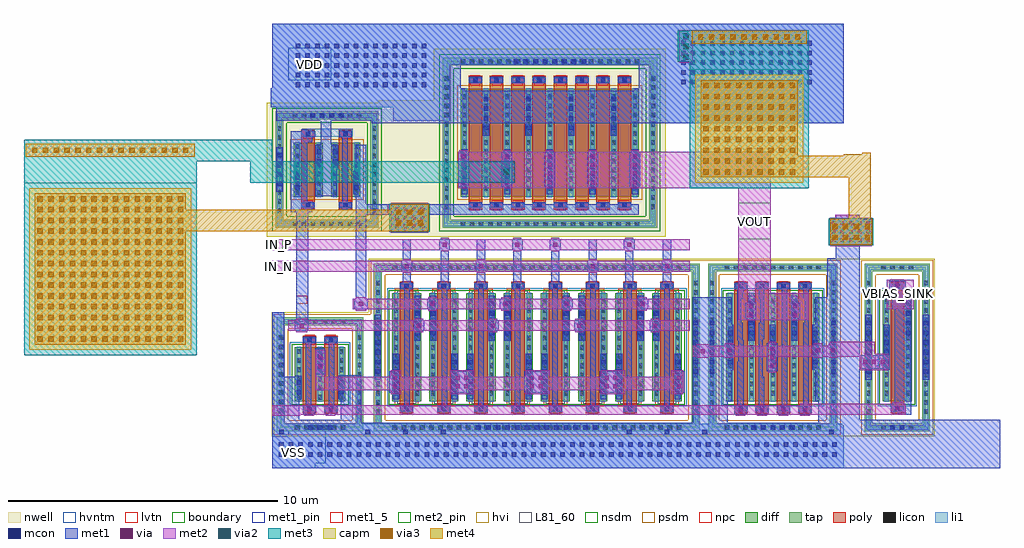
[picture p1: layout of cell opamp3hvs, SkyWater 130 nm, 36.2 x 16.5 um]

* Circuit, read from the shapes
.subckt opamp3hvs IN_N IN_P VBIAS_SINK VDD VOUT VSS
XM1 n1 VBIAS_SINK VSS VSS sky130_fd_pr__nfet_05v0_nvt w=2 l=0.5 m=2
XM2 opamp3hv_0/VN IN_N n1 VSS sky130_fd_pr__nfet_05v0_nvt w=4 l=0.5 m=4
XM3 n1 IN_P opamp3hv_0/VOUTSTAGE1 VSS sky130_fd_pr__nfet_05v0_nvt w=4 l=0.5 m=4
XM4 VOUT VBIAS_SINK VSS VSS sky130_fd_pr__nfet_05v0_nvt w=4 l=0.5 m=4
XM5 VBIAS_SINK VBIAS_SINK VSS VSS sky130_fd_pr__nfet_05v0_nvt w=4 l=0.5
XM6 VDD opamp3hv_0/VN opamp3hv_0/VN VDD sky130_fd_pr__pfet_g5v0d10v5 w=2 l=0.5
XM7 opamp3hv_0/VOUTSTAGE1 opamp3hv_0/VN VDD VDD sky130_fd_pr__pfet_g5v0d10v5 w=2 l=0.5
XM8 VDD opamp3hv_0/VOUTSTAGE1 VOUT VDD sky130_fd_pr__pfet_g5v0d10v5 w=4 l=0.5 m=8
XC9 opamp3hv_0/VOUTSTAGE1 VOUT sky130_fd_pr__cap_mim_m3_1 w=6 l=6
XC10 VSS VDD sky130_fd_pr__cap_mim_m3_1 w=4 l=4
.ends

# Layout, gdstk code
from math import pi, radians
import gdstk
lib = gdstk.Library(unit=1e-6, precision=1e-09)
def R(c, l, rs):  # rectangles x0, y0, x1, y1
    for r in rs: c.add(gdstk.rectangle(r[:2], r[2:], *l))
def A(c, l, x, y, w, h, nx, ny, dx, dy):  # array of equal rectangles
    R(c, l, [(x+i*dx, y+j*dy, x+i*dx+w, y+j*dy+h) for i in range(nx) for j in range(ny)])
nwell = (64, 20)
diff = (65, 20)
tap = (65, 44)
poly = (66, 20)
licon = (66, 44)
li1 = (67, 20)
mcon = (67, 44)
met1_5 = (68, 5)
met1_pin = (68, 16)
met1 = (68, 20)
via = (68, 44)
met2_pin = (69, 16)
met2 = (69, 20)
via2 = (69, 44)
met3 = (70, 20)
via3 = (70, 44)
met4 = (71, 20)
hvi = (75, 20)
L81_60 = (81, 60)
capm = (89, 44)
nsdm = (93, 44)
psdm = (94, 20)
npc = (95, 20)
hvntm = (125, 20)
lvtn = (125, 44)
boundary = (235, 4)

sky130_fd_pr__cap_mim_m3 = lib.new_cell('sky130_fd_pr__cap_mim_m3_1_7CPSX4')
R(sky130_fd_pr__cap_mim_m3, met3, [(-3.93,-3.2,3.93,3.2)])
A(sky130_fd_pr__cap_mim_m3, via3, 3.57, -2.9, 0.2, 0.2, 1, 15, 0, 0.4)
A(sky130_fd_pr__cap_mim_m3, via3, -3.43, -2.7, 0.2, 0.2, 14, 14, 0.4, 0.4)
R(sky130_fd_pr__cap_mim_m3, met4, [(3.43,-3.14,3.91,3.14), (-3.535,-2.805,2.075,2.805)])
R(sky130_fd_pr__cap_mim_m3, capm, [(-3.73,-3,2.27,3)])
R(sky130_fd_pr__cap_mim_m3, boundary, [(-3.93,-3.2,2.47,3.2)])

c_sky130_fd_pr__cap_mim_m3 = lib.new_cell('sky130_fd_pr__cap_mim_m3_1_K8PL49')
R(c_sky130_fd_pr__cap_mim_m3, met3, [(-2.93,-2.2,2.93,2.2)])
A(c_sky130_fd_pr__cap_mim_m3, via3, 2.57, -1.9, 0.2, 0.2, 1, 10, 0, 0.4)
A(c_sky130_fd_pr__cap_mim_m3, via3, -2.43, -1.7, 0.2, 0.2, 9, 9, 0.4, 0.4)
R(c_sky130_fd_pr__cap_mim_m3, met4, [(2.43,-2.14,2.91,2.14), (-2.535,-1.805,1.075,1.805)])
R(c_sky130_fd_pr__cap_mim_m3, capm, [(-2.73,-2,1.27,2)])
R(c_sky130_fd_pr__cap_mim_m3, boundary, [(-2.93,-2.2,1.47,2.2)])

sky130_fd_pr__nfet_03v3_ = lib.new_cell('sky130_fd_pr__nfet_03v3_nvt_7WRH84')
A(sky130_fd_pr__nfet_03v3_, diff, -5.37, -2, 1.08, 4, 8, 1, 1.38, 0)
R(sky130_fd_pr__nfet_03v3_, tap, [(-6.04,-3.11,6.04,-2.82), (-6.04,-2.82,-5.75,2.82), (5.75,-2.82,6.04,2.82), (-6.04,2.82,6.04,3.11)])
A(sky130_fd_pr__nfet_03v3_, poly, -5.08, -2.44, 0.5, 4.88, 8, 1, 1.38, 0)
A(sky130_fd_pr__nfet_03v3_, licon, -5.355, -3.05, 0.17, 0.17, 32, 2, 0.34, 5.93)
A(sky130_fd_pr__nfet_03v3_, licon, -5.98, -2.465, 0.17, 0.17, 1, 15, 0, 0.34)
A(sky130_fd_pr__nfet_03v3_, licon, 5.81, -2.465, 0.17, 0.17, 1, 15, 0, 0.34)
A(sky130_fd_pr__nfet_03v3_, licon, -4.915, -2.36, 0.17, 0.17, 8, 2, 1.38, 4.55)
A(sky130_fd_pr__nfet_03v3_, licon, -5.31, -1.785, 0.17, 0.17, 1, 11, 0, 0.34)
A(sky130_fd_pr__nfet_03v3_, licon, -4.52, -1.785, 0.17, 0.17, 1, 11, 0, 0.34)
A(sky130_fd_pr__nfet_03v3_, licon, -3.93, -1.785, 0.17, 0.17, 1, 11, 0, 0.34)
A(sky130_fd_pr__nfet_03v3_, licon, -3.14, -1.785, 0.17, 0.17, 1, 11, 0, 0.34)
A(sky130_fd_pr__nfet_03v3_, licon, -2.55, -1.785, 0.17, 0.17, 1, 11, 0, 0.34)
A(sky130_fd_pr__nfet_03v3_, licon, -1.76, -1.785, 0.17, 0.17, 1, 11, 0, 0.34)
A(sky130_fd_pr__nfet_03v3_, licon, -1.17, -1.785, 0.17, 0.17, 1, 11, 0, 0.34)
A(sky130_fd_pr__nfet_03v3_, licon, -0.38, -1.785, 0.17, 0.17, 1, 11, 0, 0.34)
A(sky130_fd_pr__nfet_03v3_, licon, 0.21, -1.785, 0.17, 0.17, 1, 11, 0, 0.34)
A(sky130_fd_pr__nfet_03v3_, licon, 1, -1.785, 0.17, 0.17, 1, 11, 0, 0.34)
A(sky130_fd_pr__nfet_03v3_, licon, 1.59, -1.785, 0.17, 0.17, 1, 11, 0, 0.34)
A(sky130_fd_pr__nfet_03v3_, licon, 2.38, -1.785, 0.17, 0.17, 1, 11, 0, 0.34)
A(sky130_fd_pr__nfet_03v3_, licon, 2.97, -1.785, 0.17, 0.17, 1, 11, 0, 0.34)
A(sky130_fd_pr__nfet_03v3_, licon, 3.76, -1.785, 0.17, 0.17, 1, 11, 0, 0.34)
A(sky130_fd_pr__nfet_03v3_, licon, 4.35, -1.785, 0.17, 0.17, 1, 11, 0, 0.34)
A(sky130_fd_pr__nfet_03v3_, licon, 5.14, -1.785, 0.17, 0.17, 1, 11, 0, 0.34)
A(sky130_fd_pr__nfet_03v3_, li1, -5.08, -2.36, 0.5, 0.17, 8, 2, 1.38, 4.55)
R(sky130_fd_pr__nfet_03v3_, li1, [(-5.98,-3.05,5.98,-2.88), (-5.98,-2.88,-5.81,2.88), (5.81,-2.88,5.98,2.88), (-5.31,-2.02,-5.14,2.02), (-4.52,-2.02,-4.35,2.02), (-3.93,-2.02,-3.76,2.02), (-3.14,-2.02,-2.97,2.02), (-2.55,-2.02,-2.38,2.02), (-1.76,-2.02,-1.59,2.02), (-1.17,-2.02,-1,2.02), (-0.38,-2.02,-0.21,2.02), (0.21,-2.02,0.38,2.02), (1,-2.02,1.17,2.02), (1.59,-2.02,1.76,2.02), (2.38,-2.02,2.55,2.02), (2.97,-2.02,3.14,2.02), (3.76,-2.02,3.93,2.02), (4.35,-2.02,4.52,2.02), (5.14,-2.02,5.31,2.02), (-5.98,2.88,5.98,3.05)])
A(sky130_fd_pr__nfet_03v3_, mcon, -2.245, -3.05, 0.17, 0.17, 13, 1, 0.36, 0)
A(sky130_fd_pr__nfet_03v3_, mcon, -4.915, -2.36, 0.17, 0.17, 8, 2, 1.38, 4.55)
A(sky130_fd_pr__nfet_03v3_, mcon, -5.31, -1.705, 0.17, 0.17, 1, 4, 0, 0.36)
A(sky130_fd_pr__nfet_03v3_, mcon, -3.14, -1.705, 0.17, 0.17, 1, 4, 0, 0.36)
A(sky130_fd_pr__nfet_03v3_, mcon, -2.55, -1.705, 0.17, 0.17, 1, 4, 0, 0.36)
A(sky130_fd_pr__nfet_03v3_, mcon, -0.38, -1.705, 0.17, 0.17, 1, 4, 0, 0.36)
A(sky130_fd_pr__nfet_03v3_, mcon, 0.21, -1.705, 0.17, 0.17, 1, 4, 0, 0.36)
A(sky130_fd_pr__nfet_03v3_, mcon, 2.38, -1.705, 0.17, 0.17, 1, 4, 0, 0.36)
A(sky130_fd_pr__nfet_03v3_, mcon, 2.97, -1.705, 0.17, 0.17, 1, 4, 0, 0.36)
A(sky130_fd_pr__nfet_03v3_, mcon, 5.14, -1.705, 0.17, 0.17, 1, 4, 0, 0.36)
A(sky130_fd_pr__nfet_03v3_, mcon, -5.98, -0.985, 0.17, 0.17, 1, 6, 0, 0.36)
A(sky130_fd_pr__nfet_03v3_, mcon, 5.81, -0.985, 0.17, 0.17, 1, 6, 0, 0.36)
A(sky130_fd_pr__nfet_03v3_, mcon, -4.52, 0.455, 0.17, 0.17, 1, 4, 0, 0.36)
A(sky130_fd_pr__nfet_03v3_, mcon, -3.93, 0.455, 0.17, 0.17, 1, 4, 0, 0.36)
A(sky130_fd_pr__nfet_03v3_, mcon, -1.76, 0.455, 0.17, 0.17, 1, 4, 0, 0.36)
A(sky130_fd_pr__nfet_03v3_, mcon, -1.17, 0.455, 0.17, 0.17, 1, 4, 0, 0.36)
A(sky130_fd_pr__nfet_03v3_, mcon, 1, 0.455, 0.17, 0.17, 1, 4, 0, 0.36)
A(sky130_fd_pr__nfet_03v3_, mcon, 1.59, 0.455, 0.17, 0.17, 1, 4, 0, 0.36)
A(sky130_fd_pr__nfet_03v3_, mcon, 3.76, 0.455, 0.17, 0.17, 1, 4, 0, 0.36)
A(sky130_fd_pr__nfet_03v3_, mcon, 4.35, 0.455, 0.17, 0.17, 1, 4, 0, 0.36)
A(sky130_fd_pr__nfet_03v3_, met1, -5.06, -2.39, 0.46, 0.23, 8, 2, 1.38, 4.55)
R(sky130_fd_pr__nfet_03v3_, met1, [(-2.385,-3.08,2.385,-2.85), (-5.34,-1.915,-5.11,-0.245), (-3.17,-1.915,-2.94,-0.245), (-2.58,-1.915,-2.35,-0.245), (-0.41,-1.915,-0.18,-0.245), (0.18,-1.915,0.41,-0.245), (2.35,-1.915,2.58,-0.245), (2.94,-1.915,3.17,-0.245), (5.11,-1.915,5.34,-0.245), (-6.01,-1.21,-5.78,1.21), (5.78,-1.21,6.01,1.21), (-4.55,0.245,-4.32,1.915), (-3.96,0.245,-3.73,1.915), (-1.79,0.245,-1.56,1.915), (-1.2,0.245,-0.97,1.915), (0.97,0.245,1.2,1.915), (1.56,0.245,1.79,1.915), (3.73,0.245,3.96,1.915), (4.32,0.245,4.55,1.915)])
R(sky130_fd_pr__nfet_03v3_, hvi, [(-6.225,-3.295,6.225,3.295)])
A(sky130_fd_pr__nfet_03v3_, L81_60, -5.18, -2.1, 0.7, 4.2, 8, 1, 1.38, 0)
R(sky130_fd_pr__nfet_03v3_, nsdm, [(-5.495,-2.125,5.495,2.125)])
R(sky130_fd_pr__nfet_03v3_, psdm, [(-6.165,-3.235,6.165,-2.695), (-6.165,-2.695,-5.625,2.695), (5.625,-2.695,6.165,2.695), (-6.165,2.695,6.165,3.235)])
A(sky130_fd_pr__nfet_03v3_, npc, -5.015, -2.46, 0.37, 0.37, 8, 2, 1.38, 4.55)
R(sky130_fd_pr__nfet_03v3_, hvntm, [(-5.555,-2.185,5.555,2.185)])
A(sky130_fd_pr__nfet_03v3_, lvtn, -5.26, -2.18, 0.86, 4.36, 8, 1, 1.38, 0)
R(sky130_fd_pr__nfet_03v3_, boundary, [(-5.895,-2.965,5.895,2.965)])

sky130_fd_pr__nfet_g5v0d = lib.new_cell('sky130_fd_pr__nfet_g5v0d10v5_HU3XD6')
R(sky130_fd_pr__nfet_g5v0d, diff, [(-0.935,-1,0.935,1)])
R(sky130_fd_pr__nfet_g5v0d, tap, [(-1.605,-2.11,1.605,-1.82), (-1.605,-1.82,-1.315,1.82), (1.315,-1.82,1.605,1.82), (-1.605,1.82,1.605,2.11)])
R(sky130_fd_pr__nfet_g5v0d, poly, [(-0.645,-1.44,-0.145,1.44), (0.145,-1.44,0.645,1.44)])
A(sky130_fd_pr__nfet_g5v0d, licon, -0.935, -2.05, 0.17, 0.17, 6, 2, 0.34, 3.93)
A(sky130_fd_pr__nfet_g5v0d, licon, -1.545, -1.445, 0.17, 0.17, 1, 9, 0, 0.34)
A(sky130_fd_pr__nfet_g5v0d, licon, 1.375, -1.445, 0.17, 0.17, 1, 9, 0, 0.34)
A(sky130_fd_pr__nfet_g5v0d, licon, -0.875, -0.935, 0.17, 0.17, 3, 6, 0.79, 0.34)
R(sky130_fd_pr__nfet_g5v0d, licon, [(-0.48,-1.36,-0.31,-1.19), (0.31,-1.36,0.48,-1.19), (-0.48,1.19,-0.31,1.36), (0.31,1.19,0.48,1.36)])
A(sky130_fd_pr__nfet_g5v0d, li1, -0.875, -1.02, 0.17, 2.04, 3, 1, 0.79, 0)
R(sky130_fd_pr__nfet_g5v0d, li1, [(-1.545,-2.05,1.545,-1.88), (-1.545,-1.88,-1.375,1.88), (1.375,-1.88,1.545,1.88), (-0.645,-1.36,-0.145,-1.19), (0.145,-1.36,0.645,-1.19), (-0.645,1.19,-0.145,1.36), (0.145,1.19,0.645,1.36), (-1.545,1.88,1.545,2.05)])
A(sky130_fd_pr__nfet_g5v0d, mcon, -0.445, -2.05, 0.17, 0.17, 3, 1, 0.36, 0)
R(sky130_fd_pr__nfet_g5v0d, mcon, [(-0.48,-1.36,-0.31,-1.19), (0.31,-1.36,0.48,-1.19), (-0.875,-0.745,-0.705,-0.575), (0.705,-0.745,0.875,-0.575), (-0.875,-0.385,-0.705,-0.215), (0.705,-0.385,0.875,-0.215), (-0.085,0.215,0.085,0.385), (-0.085,0.575,0.085,0.745), (-0.48,1.19,-0.31,1.36), (0.31,1.19,0.48,1.36)])
R(sky130_fd_pr__nfet_g5v0d, met1, [(-0.61,-2.08,0.61,-1.85), (-0.625,-1.39,-0.165,-1.16), (0.165,-1.39,0.625,-1.16), (-0.905,-0.915,-0.675,-0.045), (0.675,-0.915,0.905,-0.045), (-0.115,0.045,0.115,0.915), (-0.625,1.16,-0.165,1.39), (0.165,1.16,0.625,1.39)])
R(sky130_fd_pr__nfet_g5v0d, hvi, [(-1.79,-2.295,1.79,2.295)])
R(sky130_fd_pr__nfet_g5v0d, nsdm, [(-1.06,-1.125,1.06,1.125)])
R(sky130_fd_pr__nfet_g5v0d, psdm, [(-1.73,-2.235,1.73,-1.695), (-1.73,-1.695,-1.19,1.695), (1.19,-1.695,1.73,1.695), (-1.73,1.695,1.73,2.235)])
R(sky130_fd_pr__nfet_g5v0d, npc, [(-0.58,-1.46,-0.21,-1.09), (0.21,-1.46,0.58,-1.09), (-0.58,1.09,-0.21,1.46), (0.21,1.09,0.58,1.46)])
R(sky130_fd_pr__nfet_g5v0d, hvntm, [(-1.12,-1.185,1.12,1.185)])
R(sky130_fd_pr__nfet_g5v0d, boundary, [(-1.46,-1.965,1.46,1.965)])

c_sky130_fd_pr__nfet_g5v0d = lib.new_cell('sky130_fd_pr__nfet_g5v0d10v5_R4FM4P')
R(c_sky130_fd_pr__nfet_g5v0d, diff, [(-1.725,-2,1.725,2)])
R(c_sky130_fd_pr__nfet_g5v0d, tap, [(-2.395,-3.11,2.395,-2.82), (-2.395,-2.82,-2.105,2.82), (2.105,-2.82,2.395,2.82), (-2.395,2.82,2.395,3.11)])
A(c_sky130_fd_pr__nfet_g5v0d, poly, -1.435, -2.44, 0.5, 4.88, 4, 1, 0.79, 0)
A(c_sky130_fd_pr__nfet_g5v0d, licon, -1.785, -3.05, 0.17, 0.17, 11, 2, 0.34, 5.93)
A(c_sky130_fd_pr__nfet_g5v0d, licon, -2.335, -2.465, 0.17, 0.17, 1, 15, 0, 0.34)
A(c_sky130_fd_pr__nfet_g5v0d, licon, 2.165, -2.465, 0.17, 0.17, 1, 15, 0, 0.34)
A(c_sky130_fd_pr__nfet_g5v0d, licon, -1.27, -2.36, 0.17, 0.17, 4, 2, 0.79, 4.55)
A(c_sky130_fd_pr__nfet_g5v0d, licon, -1.665, -1.785, 0.17, 0.17, 5, 11, 0.79, 0.34)
A(c_sky130_fd_pr__nfet_g5v0d, li1, -1.435, -2.36, 0.5, 0.17, 4, 2, 0.79, 4.55)
A(c_sky130_fd_pr__nfet_g5v0d, li1, -1.665, -2.02, 0.17, 4.04, 5, 1, 0.79, 0)
R(c_sky130_fd_pr__nfet_g5v0d, li1, [(-2.335,-3.05,2.335,-2.88), (-2.335,-2.88,-2.165,2.88), (2.165,-2.88,2.335,2.88), (-2.335,2.88,2.335,3.05)])
A(c_sky130_fd_pr__nfet_g5v0d, mcon, -0.805, -3.05, 0.17, 0.17, 5, 1, 0.36, 0)
A(c_sky130_fd_pr__nfet_g5v0d, mcon, -1.27, -2.36, 0.17, 0.17, 4, 2, 0.79, 4.55)
A(c_sky130_fd_pr__nfet_g5v0d, mcon, -2.335, -0.985, 0.17, 0.17, 1, 6, 0, 0.36)
A(c_sky130_fd_pr__nfet_g5v0d, mcon, 2.165, -0.985, 0.17, 0.17, 1, 6, 0, 0.36)
A(c_sky130_fd_pr__nfet_g5v0d, mcon, -1.665, -0.625, 0.17, 0.17, 3, 3, 1.58, 0.36)
A(c_sky130_fd_pr__nfet_g5v0d, mcon, -1.665, 0.455, 0.17, 0.17, 5, 1, 0.79, 0)
A(c_sky130_fd_pr__nfet_g5v0d, mcon, -0.875, 0.815, 0.17, 0.17, 1, 3, 0, 0.36)
A(c_sky130_fd_pr__nfet_g5v0d, mcon, 0.705, 0.815, 0.17, 0.17, 1, 3, 0, 0.36)
A(c_sky130_fd_pr__nfet_g5v0d, met1, -1.415, -2.39, 0.46, 0.23, 4, 2, 0.79, 4.55)
A(c_sky130_fd_pr__nfet_g5v0d, met1, -1.695, -0.835, 0.23, 1.67, 3, 1, 1.58, 0)
R(c_sky130_fd_pr__nfet_g5v0d, met1, [(-0.925,-3.08,0.925,-2.85), (-2.365,-1.21,-2.135,1.21), (2.135,-1.21,2.365,1.21), (-0.905,0.245,-0.675,1.915), (0.675,0.245,0.905,1.915)])
R(c_sky130_fd_pr__nfet_g5v0d, hvi, [(-2.58,-3.295,2.58,3.295)])
R(c_sky130_fd_pr__nfet_g5v0d, nsdm, [(-1.85,-2.125,1.85,2.125)])
R(c_sky130_fd_pr__nfet_g5v0d, psdm, [(-2.52,-3.235,2.52,-2.695), (-2.52,-2.695,-1.98,2.695), (1.98,-2.695,2.52,2.695), (-2.52,2.695,2.52,3.235)])
A(c_sky130_fd_pr__nfet_g5v0d, npc, -1.37, -2.46, 0.37, 0.37, 4, 2, 0.79, 4.55)
R(c_sky130_fd_pr__nfet_g5v0d, hvntm, [(-1.91,-2.185,1.91,2.185)])
R(c_sky130_fd_pr__nfet_g5v0d, boundary, [(-2.25,-2.965,2.25,2.965)])

sky130_fd_pr__pfet_g5v0d = lib.new_cell('sky130_fd_pr__pfet_g5v0d10v5_F6REXY')
R(sky130_fd_pr__pfet_g5v0d, nwell, [(-2.235,-2.485,2.235,2.485)])
R(sky130_fd_pr__pfet_g5v0d, diff, [(-1.235,-1,-0.155,1), (0.155,-1,1.235,1)])
R(sky130_fd_pr__pfet_g5v0d, tap, [(-1.905,-2.155,1.905,-1.865), (-1.905,-1.865,-1.615,1.865), (1.615,-1.865,1.905,1.865), (-1.905,1.865,1.905,2.155)])
R(sky130_fd_pr__pfet_g5v0d, poly, [(-0.945,-1.485,-0.445,1.485), (0.445,-1.485,0.945,1.485)])
A(sky130_fd_pr__pfet_g5v0d, licon, -1.275, -2.095, 0.17, 0.17, 8, 2, 0.34, 4.02)
A(sky130_fd_pr__pfet_g5v0d, licon, -1.845, -1.615, 0.17, 0.17, 1, 10, 0, 0.34)
A(sky130_fd_pr__pfet_g5v0d, licon, 1.675, -1.615, 0.17, 0.17, 1, 10, 0, 0.34)
A(sky130_fd_pr__pfet_g5v0d, licon, -1.175, -0.935, 0.17, 0.17, 1, 6, 0, 0.34)
A(sky130_fd_pr__pfet_g5v0d, licon, -0.385, -0.935, 0.17, 0.17, 1, 6, 0, 0.34)
A(sky130_fd_pr__pfet_g5v0d, licon, 0.215, -0.935, 0.17, 0.17, 1, 6, 0, 0.34)
A(sky130_fd_pr__pfet_g5v0d, licon, 1.005, -0.935, 0.17, 0.17, 1, 6, 0, 0.34)
R(sky130_fd_pr__pfet_g5v0d, licon, [(-0.78,-1.405,-0.61,-1.235), (0.61,-1.405,0.78,-1.235), (-0.78,1.235,-0.61,1.405), (0.61,1.235,0.78,1.405)])
R(sky130_fd_pr__pfet_g5v0d, li1, [(-1.845,-2.095,1.845,-1.925), (-1.845,-1.925,-1.675,1.925), (1.675,-1.925,1.845,1.925), (-0.945,-1.405,-0.445,-1.235), (0.445,-1.405,0.945,-1.235), (-1.175,-1.02,-1.005,1.02), (-0.385,-1.02,-0.215,1.02), (0.215,-1.02,0.385,1.02), (1.005,-1.02,1.175,1.02), (-0.945,1.235,-0.445,1.405), (0.445,1.235,0.945,1.405), (-1.845,1.925,1.845,2.095)])
A(sky130_fd_pr__pfet_g5v0d, mcon, -1.845, -0.625, 0.17, 0.17, 1, 4, 0, 0.36)
A(sky130_fd_pr__pfet_g5v0d, mcon, -0.625, 1.925, 0.17, 0.17, 4, 1, 0.36, 0)
R(sky130_fd_pr__pfet_g5v0d, mcon, [(-0.78,-1.405,-0.61,-1.235), (0.61,-1.405,0.78,-1.235), (-1.175,-0.745,-1.005,-0.575), (1.005,-0.745,1.175,-0.575), (-1.175,-0.385,-1.005,-0.215), (1.005,-0.385,1.175,-0.215), (-0.385,0.215,-0.215,0.385), (0.215,0.215,0.385,0.385), (-0.385,0.575,-0.215,0.745), (0.215,0.575,0.385,0.745), (-0.78,1.235,-0.61,1.405), (0.61,1.235,0.78,1.405)])
R(sky130_fd_pr__pfet_g5v0d, met1, [(-0.925,-1.435,-0.465,-1.205), (0.465,-1.435,0.925,-1.205), (-1.205,-0.915,-0.975,-0.045), (0.975,-0.915,1.205,-0.045), (-1.875,-0.83,-1.645,0.83), (-0.415,0.045,-0.185,0.915), (0.185,0.045,0.415,0.915), (-0.925,1.205,-0.465,1.435), (0.465,1.205,0.925,1.435), (-0.73,1.895,0.73,2.125)])
R(sky130_fd_pr__pfet_g5v0d, hvi, [(-2.235,-2.485,2.235,2.485)])
R(sky130_fd_pr__pfet_g5v0d, nsdm, [(-2.03,-2.28,2.03,-1.74), (-2.03,-1.74,-1.49,1.74), (1.49,-1.74,2.03,1.74), (-2.03,1.74,2.03,2.28)])
R(sky130_fd_pr__pfet_g5v0d, psdm, [(-1.36,-1.125,1.36,1.125)])
R(sky130_fd_pr__pfet_g5v0d, npc, [(-0.88,-1.505,-0.51,-1.135), (0.51,-1.505,0.88,-1.135), (-0.88,1.135,-0.51,1.505), (0.51,1.135,0.88,1.505)])
R(sky130_fd_pr__pfet_g5v0d, boundary, [(-1.76,-2.01,1.76,2.01)])

c_sky130_fd_pr__pfet_g5v0d = lib.new_cell('sky130_fd_pr__pfet_g5v0d10v5_ZPAR4F')
R(c_sky130_fd_pr__pfet_g5v0d, nwell, [(-4.305,-3.485,4.305,3.485)])
R(c_sky130_fd_pr__pfet_g5v0d, diff, [(-3.305,-2,3.305,2)])
R(c_sky130_fd_pr__pfet_g5v0d, tap, [(-3.975,-3.155,3.975,-2.865), (-3.975,-2.865,-3.685,2.865), (3.685,-2.865,3.975,2.865), (-3.975,2.865,3.975,3.155)])
A(c_sky130_fd_pr__pfet_g5v0d, poly, -3.015, -2.485, 0.5, 4.97, 8, 1, 0.79, 0)
A(c_sky130_fd_pr__pfet_g5v0d, licon, -3.315, -3.095, 0.17, 0.17, 20, 2, 0.34, 6.02)
A(c_sky130_fd_pr__pfet_g5v0d, licon, -3.915, -2.465, 0.17, 0.17, 1, 15, 0, 0.34)
A(c_sky130_fd_pr__pfet_g5v0d, licon, 3.745, -2.465, 0.17, 0.17, 1, 15, 0, 0.34)
A(c_sky130_fd_pr__pfet_g5v0d, licon, -2.85, -2.405, 0.17, 0.17, 8, 2, 0.79, 4.64)
A(c_sky130_fd_pr__pfet_g5v0d, licon, -3.245, -1.785, 0.17, 0.17, 9, 11, 0.79, 0.34)
A(c_sky130_fd_pr__pfet_g5v0d, li1, -3.015, -2.405, 0.5, 0.17, 8, 2, 0.79, 4.64)
A(c_sky130_fd_pr__pfet_g5v0d, li1, -3.245, -2.02, 0.17, 4.04, 9, 1, 0.79, 0)
R(c_sky130_fd_pr__pfet_g5v0d, li1, [(-3.915,-3.095,3.915,-2.925), (-3.915,-2.925,-3.745,2.925), (3.745,-2.925,3.915,2.925), (-3.915,2.925,3.915,3.095)])
A(c_sky130_fd_pr__pfet_g5v0d, mcon, -2.85, -2.405, 0.17, 0.17, 8, 2, 0.79, 4.64)
A(c_sky130_fd_pr__pfet_g5v0d, mcon, -3.245, -1.705, 0.17, 0.17, 5, 4, 1.58, 0.36)
A(c_sky130_fd_pr__pfet_g5v0d, mcon, -2.455, 0.455, 0.17, 0.17, 4, 4, 1.58, 0.36)
A(c_sky130_fd_pr__pfet_g5v0d, mcon, -1.345, 2.925, 0.17, 0.17, 8, 1, 0.36, 0)
A(c_sky130_fd_pr__pfet_g5v0d, met1, -2.995, -2.435, 0.46, 0.23, 8, 2, 0.79, 4.64)
A(c_sky130_fd_pr__pfet_g5v0d, met1, -3.275, -1.915, 0.23, 1.67, 5, 1, 1.58, 0)
A(c_sky130_fd_pr__pfet_g5v0d, met1, -2.485, 0.245, 0.23, 1.67, 4, 1, 1.58, 0)
R(c_sky130_fd_pr__pfet_g5v0d, met1, [(-1.56,2.895,1.56,3.125)])
R(c_sky130_fd_pr__pfet_g5v0d, hvi, [(-4.305,-3.485,4.305,3.485)])
R(c_sky130_fd_pr__pfet_g5v0d, nsdm, [(-4.1,-3.28,4.1,-2.74), (-4.1,-2.74,-3.56,2.74), (3.56,-2.74,4.1,2.74), (-4.1,2.74,4.1,3.28)])
R(c_sky130_fd_pr__pfet_g5v0d, psdm, [(-3.43,-2.125,3.43,2.125)])
A(c_sky130_fd_pr__pfet_g5v0d, npc, -2.95, -2.505, 0.37, 0.37, 8, 2, 0.79, 4.64)
R(c_sky130_fd_pr__pfet_g5v0d, boundary, [(-3.83,-3.01,3.83,3.01)])

opamp3hv = lib.new_cell('opamp3hv')
R(opamp3hv, nwell, [(3.75,7.2,6.75,12.25)])
R(opamp3hv, li1, [(-0.2,-1.4,21,0.2), (-0.2,0.2,20.95,0.25), (-0.2,0.25,0.25,4.4), (0.9,10.9,2.8,11.2), (13.9,11.4,21,13.6), (4.3,11.5,6.4,12), (-0.25,12,6.4,12.7), (-0.2,12.7,6.4,13.6), (-0.2,13.6,21,15.1)])
A(opamp3hv, mcon, 0.055, -0.965, 0.17, 0.17, 58, 2, 0.36, 0.36)
A(opamp3hv, mcon, 3.265, -0.14, 0.17, 0.17, 3, 1, 1.4, 0)
A(opamp3hv, mcon, 12.965, -0.14, 0.17, 0.17, 3, 1, 1.4, 0)
A(opamp3hv, mcon, 0.675, 12.745, 0.17, 0.17, 14, 5, 0.36, 0.36)
A(opamp3hv, mcon, 14.975, 12.845, 0.17, 0.17, 14, 5, 0.36, 0.36)
R(opamp3hv, mcon, [(0.065,-0.14,0.235,0.03), (20.465,-0.14,20.635,0.03)])
R(opamp3hv, met1_5, [(0.7,4.7,1.1,5), (4.1,8,4.5,8.4)])
R(opamp3hv, met1_pin, [(0.4,-1.2,1.8,0), (0.5,13,1.9,14.2)])
A(opamp3hv, met1, 16.95, 0.6, 0.45, 0.3, 4, 1, 0.8, 0)
A(opamp3hv, met1, 6.1, 0.7, 0.2, 4.55, 3, 1, 1.35, 0)
A(opamp3hv, met1, 6.7, 9.05, 0.4, 1.3, 4, 1, 1.6, 0)
R(opamp3hv, met1, [(-0.2,-1.4,21.6,0.3), (-0.2,0.3,3.1,0.4), (15.4,0.3,16.7,1.1), (20.05,0.3,21.6,1.1), (-0.2,0.4,0.8,2), (2.35,0.4,3.1,2.05), (1.9,0.55,2.1,0.6), (0.95,0.6,1.4,0.9), (1.75,0.6,2.2,0.9), (4.7,0.7,4.9,5.25), (10.2,0.75,10.4,5.25), (11.6,0.75,11.8,5.25), (12.95,0.75,13.15,5.25), (14.35,0.75,14.55,5.25), (1.05,0.9,1.25,3.45), (1.9,0.9,2.1,3.45), (17.05,0.9,17.3,2.55), (17.85,0.9,18.05,2), (18.7,0.9,18.9,5.5), (19.5,0.9,19.7,4), (15.4,1.1,16.85,2.75), (19.95,1.1,21.6,2.75), (4.15,1.4,4.5,2.2), (6.5,1.4,7.2,2.2), (9.15,1.4,10,2.2), (11.95,1.4,12.75,2.2), (14.75,1.4,15.1,2.2), (-0.2,2,0.25,4.4), (17.85,2,18,3.4), (1.4,2.1,1.75,3.05), (18.15,2.2,18.55,3.25), (17.1,2.55,17.3,3.35), (15.4,2.75,16.95,3.2), (19.85,2.75,21.6,3.2), (15.4,3.2,16.85,4.95), (19.95,3.2,21.6,4.95), (17.05,3.35,17.25,4), (17.85,3.4,18.05,4), (0.65,3.7,1.15,4.1), (5.05,3.7,5.45,4.1), (7.8,3.7,8.2,4.1), (11,3.7,11.4,4.1), (13.8,3.7,14.2,4.1), (17.05,4,17.2,4.9), (17.9,4,18.05,4.9), (19.55,4,19.7,4.9), (0.7,4.1,1.15,8.1), (17.35,4.15,17.75,4.75), (19.05,4.15,19.4,4.75), (2.85,4.5,3.35,4.9), (5.55,4.5,5.95,4.9), (8.25,4.5,8.65,4.9), (10.55,4.5,10.95,4.9), (13.35,4.5,13.75,4.9), (2.9,4.9,3.3,8), (17.05,4.9,17.25,5.1), (17.85,4.9,18.05,5.4), (19.5,4.9,19.7,5.5), (20.4,4.95,21.6,6.4), (17.05,5.1,17.3,5.4), (4.65,5.25,4.95,5.9), (6.05,5.25,6.35,6.7), (7.4,5.25,7.7,5.9), (8.75,5.25,9.05,6.7), (10.15,5.25,10.45,6.7), (11.55,5.25,11.85,5.9), (12.9,5.25,13.2,6.7), (14.3,5.25,14.6,5.9), (17.1,5.4,17.3,5.5), (17.85,5.4,18.1,5.5), (4.6,5.9,5,6.3), (7.35,5.9,7.75,6.3), (11.5,5.9,11.9,6.3), (14.25,5.9,14.65,6.3), (4.65,6.3,4.95,7.1), (7.4,6.3,7.7,7.1), (11.55,6.3,11.85,7.1), (14.3,6.3,14.6,7.1), (20.7,6.4,21.6,6.9), (6,6.7,6.4,7.1), (8.7,6.7,9.1,7.1), (10.1,6.7,10.5,7.1), (12.85,6.7,13.25,7.1), (20.45,6.9,22.1,7.85), (4.15,7.4,5.65,8), (20.7,7.85,21.6,8.01), (2.9,8,13.4,8.4), (0.5,8.1,1.3,8.5), (2.4,8.2,2.6,11.1), (2.9,8.4,3.3,10.6), (0.5,8.5,1.1,10.7), (1.4,8.7,2.2,10.6), (13.05,9.05,13.45,10.35), (1.6,10.6,2,11.5), (0.5,10.7,1.3,10.9), (0.5,10.9,1.4,11.1), (0.9,11.1,1.1,11.2), (3.5,11.4,21,11.5), (-0.05,11.5,21,12), (-0.25,12,21,12.6), (-0.25,12.6,6.95,12.7), (13.25,12.6,21,12.7), (-0.2,12.7,6.8,13.55), (13.4,12.7,21,13.55), (-0.2,13.55,21,15.1)])
A(opamp3hv, via, 17.1, 0.675, 0.15, 0.15, 4, 1, 0.8, 0)
A(opamp3hv, via, 18.275, 2.33, 0.15, 0.15, 1, 3, 0, 0.32)
A(opamp3hv, via, 20.56, 6.98, 0.15, 0.15, 5, 3, 0.32, 0.32)
A(opamp3hv, via, 4.345, 7.505, 0.15, 0.15, 4, 3, 0.32, 0.32)
A(opamp3hv, via, 6.825, 9.145, 0.15, 0.15, 4, 4, 1.6, 0.32)
A(opamp3hv, via, 13.175, 9.145, 0.15, 0.15, 1, 4, 0, 0.32)
A(opamp3hv, via, 15.075, 13.855, 0.15, 0.15, 1, 3, 0, 0.32)
R(opamp3hv, via, [(1.1,0.675,1.25,0.825), (1.9,0.675,2.05,0.825), (4.275,1.565,4.425,1.715), (6.615,1.565,6.765,1.715), (6.935,1.565,7.085,1.715), (9.365,1.565,9.515,1.715), (9.685,1.565,9.835,1.715), (12.14,1.565,12.29,1.715), (12.46,1.565,12.61,1.715), (14.825,1.565,14.975,1.715), (4.275,1.885,4.425,2.035), (6.615,1.885,6.765,2.035), (6.935,1.885,7.085,2.035), (9.365,1.885,9.515,2.035), (9.685,1.885,9.835,2.035), (12.14,1.885,12.29,2.035), (12.46,1.885,12.61,2.035), (14.825,1.885,14.975,2.035), (1.525,2.315,1.675,2.465), (1.525,2.635,1.675,2.785), (15.7,2.875,15.85,3.025), (16.675,2.9,16.825,3.05), (19.975,2.9,20.125,3.05), (20.525,2.9,20.675,3.05), (0.825,3.825,0.975,3.975), (5.175,3.825,5.325,3.975), (7.925,3.825,8.075,3.975), (11.125,3.825,11.275,3.975), (13.925,3.825,14.075,3.975), (17.475,4.215,17.625,4.365), (19.125,4.215,19.275,4.365), (17.475,4.535,17.625,4.685), (19.125,4.535,19.275,4.685), (3.025,4.625,3.175,4.775), (5.675,4.625,5.825,4.775), (8.375,4.625,8.525,4.775), (10.675,4.625,10.825,4.775), (13.475,4.625,13.625,4.775), (4.725,6.025,4.875,6.175), (7.475,6.025,7.625,6.175), (11.625,6.025,11.775,6.175), (14.375,6.025,14.525,6.175), (6.125,6.825,6.275,6.975), (8.825,6.825,8.975,6.975), (10.225,6.825,10.375,6.975), (12.975,6.825,13.125,6.975)])
R(opamp3hv, met2_pin, [(-0.2,0.55,0.2,0.95), (-0.2,5.9,0.2,6.3), (-0.2,6.7,0.2,7.1), (17.1,7.1,18.3,8.45)])
A(opamp3hv, met2, 17, 0.55, 0.35, 0.05, 4, 1, 0.8, 0)
A(opamp3hv, met2, 6.4, 1.35, 0.9, 0.15, 3, 1, 2.8, 0)
A(opamp3hv, met2, 6.4, 2, 0.9, 0.25, 3, 1, 2.8, 0)
A(opamp3hv, met2, 6.75, 10.35, 0.3, 0.05, 4, 1, 1.6, 0)
R(opamp3hv, met2, [(-0.2,0.55,0.85,0.6), (1,0.55,1.35,0.6), (1.8,0.55,2.15,0.6), (-0.2,0.6,19.8,0.95), (4.2,1.35,4.6,1.5), (14.6,1.35,15.05,1.5), (1.4,1.5,15.05,2), (1.4,2,1.8,3), (4.2,2,4.6,2.25), (14.6,2,15.05,2.25), (18.2,2.15,18.5,2.75), (15.55,2.7,16,2.75), (16.6,2.7,16.9,2.75), (19.9,2.7,20.2,2.75), (20.45,2.7,20.75,2.75), (15.4,2.75,20.9,3.15), (15.55,3.15,16,3.2), (16.6,3.15,16.9,3.25), (18.2,3.15,18.5,3.3), (19.9,3.15,20.2,3.25), (20.45,3.15,20.75,3.25), (0.7,3.65,1.1,3.7), (5.1,3.65,5.4,3.7), (7.85,3.65,8.15,3.7), (11.05,3.65,11.35,3.7), (13.85,3.65,14.15,3.7), (0.4,3.7,15.3,4.1), (0.7,4.1,1.1,4.15), (5.1,4.1,5.4,4.15), (7.85,4.1,8.15,4.15), (11.05,4.1,11.35,4.15), (13.85,4.1,14.15,4.15), (17.1,4.1,19.7,5.1), (2.9,4.45,3.3,4.5), (5.6,4.45,5.9,4.5), (8.3,4.45,8.6,4.5), (10.6,4.45,10.9,4.5), (13.4,4.45,13.7,4.5), (2.8,4.5,15.3,4.9), (2.9,4.9,3.3,4.95), (5.6,4.9,5.9,4.95), (8.3,4.9,8.6,4.95), (10.6,4.9,10.9,4.95), (13.4,4.9,13.7,4.95), (17.1,5.1,18.3,9), (4.65,5.85,4.95,5.9), (7.4,5.85,7.7,5.9), (11.55,5.85,11.85,5.9), (14.3,5.85,14.6,5.9), (-0.2,5.9,15.3,6.3), (4.65,6.3,4.95,6.35), (7.4,6.3,7.7,6.35), (11.55,6.3,11.85,6.35), (14.3,6.3,14.6,6.35), (6.05,6.65,6.35,6.7), (8.75,6.65,9.05,6.7), (10.15,6.65,10.45,6.7), (12.9,6.65,13.2,6.7), (-0.2,6.7,15.3,7.1), (20.5,6.85,22.05,7.9), (6.05,7.1,6.35,7.15), (8.75,7.1,9.05,7.15), (10.15,7.1,10.45,7.15), (12.9,7.1,13.2,7.15), (4.2,7.35,5.6,8.45), (20.695,7.9,21.505,8.01), (6.7,9,18.3,10.35), (13.1,10.35,13.4,10.4), (14.9,13.65,15.4,14.85)])
A(opamp3hv, via2, 20.575, 7.075, 0.2, 0.2, 4, 2, 0.4, 0.4)
A(opamp3hv, via2, 4.4, 7.6, 0.2, 0.2, 3, 2, 0.4, 0.4)
A(opamp3hv, via2, 15.05, 13.75, 0.2, 0.2, 1, 3, 0, 0.4)
R(opamp3hv, via2, [(8.4,9.5,8.6,9.7)])
R(opamp3hv, met3, [(20.45,6.875,22.1,7.875), (4.15,7.375,5.65,8.425), (-1,9.2,8.8,10), (-9.4,10,-0.2,10.8), (14.85,13.675,15.45,13.7), (14.85,13.7,16.1,14.8), (14.85,14.8,15.45,14.825)])
A(opamp3hv, via3, 20.575, 7.075, 0.2, 0.2, 4, 2, 0.4, 0.4)
A(opamp3hv, via3, 4.4, 7.6, 0.2, 0.2, 3, 2, 0.4, 0.4)
R(opamp3hv, met4, [(20.495,6.895,22.055,7.855), (4.195,7.395,5.605,7.4), (-5,7.4,5.605,8.2), (21.195,7.855,22.005,9.2), (4.195,8.2,5.605,8.405), (21.195,9.2,22,9.4), (18.7,9.4,22,10.2), (21,10.2,22,10.25), (21.195,10.25,22,10.255), (21.7,10.255,22,10.3)])
R(opamp3hv, hvi, [(3.375,-0.205,3.395,4.385), (4.07,7.2,5.8,12.17), (3.75,12.17,5.8,12.25)])
R(opamp3hv, psdm, [(3.315,-0.145,3.455,4.325), (15.785,-0.145,15.855,6.325)])
opamp3hv.add(gdstk.Reference(sky130_fd_pr__cap_mim_m3, (-6.2,6.73), rotation=pi/2))
opamp3hv.add(gdstk.Reference(c_sky130_fd_pr__cap_mim_m3, (17.5,11.93), rotation=pi/2))
opamp3hv.add(gdstk.Reference(sky130_fd_pr__nfet_03v3_, (9.62,3.09)))
opamp3hv.add(gdstk.Reference(sky130_fd_pr__nfet_g5v0d, (1.585,2.09)))
opamp3hv.add(gdstk.Reference(c_sky130_fd_pr__nfet_g5v0d, (18.375,3.09)))
opamp3hv.add(gdstk.Reference(sky130_fd_pr__pfet_g5v0d, (1.835,9.685)))
opamp3hv.add(gdstk.Reference(c_sky130_fd_pr__pfet_g5v0d, (10.105,10.685)))
opamp3hv.add(gdstk.Label('VSS', (1.1,-0.6), layer=68, texttype=5))
opamp3hv.add(gdstk.Label('VDD', (1.2,13.6), layer=68, texttype=5))
opamp3hv.add(gdstk.Label('VOUTSTAGE1', (4.3,8.2), layer=68, texttype=5))
opamp3hv.add(gdstk.Label('VN', (0.9,4.85), layer=68, texttype=5))
opamp3hv.add(gdstk.Label('VOUT', (17.7,7.775), layer=69, texttype=5))
opamp3hv.add(gdstk.Label('VBIASN_G5W2L1', (0,0.75), layer=69, texttype=5))
opamp3hv.add(gdstk.Label('IN_P', (0,6.9), layer=69, texttype=5))
opamp3hv.add(gdstk.Label('IN_N', (0,6.1), layer=69, texttype=5))

c_sky130_fd_pr__nfet_g5v0d_ = lib.new_cell('sky130_fd_pr__nfet_g5v0d10v5_9GCM4P')
R(c_sky130_fd_pr__nfet_g5v0d_, diff, [(-0.54,-2,0.54,2)])
R(c_sky130_fd_pr__nfet_g5v0d_, tap, [(-1.21,-3.11,1.21,-2.82), (-1.21,-2.82,-0.92,2.82), (0.92,-2.82,1.21,2.82), (-1.21,2.82,1.21,3.11)])
R(c_sky130_fd_pr__nfet_g5v0d_, poly, [(-0.25,-2.44,0.25,2.44)])
A(c_sky130_fd_pr__nfet_g5v0d_, licon, -0.595, -3.05, 0.17, 0.17, 4, 2, 0.34, 5.93)
A(c_sky130_fd_pr__nfet_g5v0d_, licon, -1.15, -2.465, 0.17, 0.17, 1, 15, 0, 0.34)
A(c_sky130_fd_pr__nfet_g5v0d_, licon, 0.98, -2.465, 0.17, 0.17, 1, 15, 0, 0.34)
A(c_sky130_fd_pr__nfet_g5v0d_, licon, -0.48, -1.785, 0.17, 0.17, 1, 11, 0, 0.34)
A(c_sky130_fd_pr__nfet_g5v0d_, licon, 0.31, -1.785, 0.17, 0.17, 1, 11, 0, 0.34)
R(c_sky130_fd_pr__nfet_g5v0d_, licon, [(-0.085,-2.36,0.085,-2.19), (-0.085,2.19,0.085,2.36)])
R(c_sky130_fd_pr__nfet_g5v0d_, li1, [(-1.15,-3.05,1.15,-2.88), (-1.15,-2.88,-0.98,2.88), (0.98,-2.88,1.15,2.88), (-0.25,-2.36,0.25,-2.19), (-0.48,-2.02,-0.31,2.02), (0.31,-2.02,0.48,2.02), (-0.25,2.19,0.25,2.36), (-1.15,2.88,1.15,3.05)])
A(c_sky130_fd_pr__nfet_g5v0d_, mcon, -1.15, -0.985, 0.17, 0.17, 1, 6, 0, 0.36)
A(c_sky130_fd_pr__nfet_g5v0d_, mcon, 0.98, -0.985, 0.17, 0.17, 1, 6, 0, 0.36)
A(c_sky130_fd_pr__nfet_g5v0d_, mcon, -0.48, -0.625, 0.17, 0.17, 1, 4, 0, 0.36)
A(c_sky130_fd_pr__nfet_g5v0d_, mcon, 0.31, 0.455, 0.17, 0.17, 1, 4, 0, 0.36)
R(c_sky130_fd_pr__nfet_g5v0d_, mcon, [(-0.265,-3.05,-0.095,-2.88), (0.095,-3.05,0.265,-2.88), (-0.085,-2.36,0.085,-2.19), (-0.085,2.19,0.085,2.36)])
R(c_sky130_fd_pr__nfet_g5v0d_, met1, [(-0.45,-3.08,0.45,-2.85), (-0.23,-2.39,0.23,-2.16), (-1.18,-1.21,-0.95,1.21), (0.95,-1.21,1.18,1.21), (-0.51,-0.835,-0.28,0.835), (0.28,0.245,0.51,1.915), (-0.23,2.16,0.23,2.39)])
R(c_sky130_fd_pr__nfet_g5v0d_, hvi, [(-1.395,-3.295,1.395,3.295)])
R(c_sky130_fd_pr__nfet_g5v0d_, nsdm, [(-0.665,-2.125,0.665,2.125)])
R(c_sky130_fd_pr__nfet_g5v0d_, psdm, [(-1.335,-3.235,1.335,-2.695), (-1.335,-2.695,-0.795,2.695), (0.795,-2.695,1.335,2.695), (-1.335,2.695,1.335,3.235)])
R(c_sky130_fd_pr__nfet_g5v0d_, npc, [(-0.185,-2.46,0.185,-2.09), (-0.185,2.09,0.185,2.46)])
R(c_sky130_fd_pr__nfet_g5v0d_, hvntm, [(-0.725,-2.185,0.725,2.185)])
R(c_sky130_fd_pr__nfet_g5v0d_, boundary, [(-1.065,-2.965,1.065,2.965)])

opamp3hvs = lib.new_cell('opamp3hvs')
R(opamp3hvs, met1_pin, [(0,0,1.6,1.2), (0.6,14.4,2.2,15.6)])
R(opamp3hvs, met1, [(0,0,1.6,1.2), (20.8,0,27,1.8), (23.2,2,23.7,2.1), (22.95,2.1,23.7,2.4), (23.1,2.4,23.7,5.9), (21.75,3.7,22.9,4.2), (23,5.9,23.7,6.5), (23,6.5,23.5,6.65), (22.9,6.65,23.5,6.9), (22.9,6.9,23.48,6.97), (0.6,14.4,2.2,15.6)])
A(opamp3hvs, via, 21.93, 3.875, 0.15, 0.15, 3, 1, 0.32, 0)
R(opamp3hvs, via, [(23.125,2.175,23.275,2.325), (23.115,6.735,23.265,6.885)])
R(opamp3hvs, met2_pin, [(23,6,23.5,7), (0.05,7.3,0.4,7.7), (0.05,8.1,0.4,8.5), (17.3,8.5,18.5,9.85)])
R(opamp3hvs, met2, [(19.6,2,23.5,2.4), (23,2.4,23.4,2.45), (21.8,3.65,22.85,3.7), (21.8,3.7,22.9,4.15), (20.7,4.15,22.9,4.2), (20.7,4.2,22.85,4.25), (20.7,4.25,22.35,4.7), (22.8,5.9,23.8,7), (22.95,7,23.43,7.02), (0.05,7.3,0.4,7.7), (0.05,8.1,0.4,8.5), (17.3,8.5,18.5,9.85)])
R(opamp3hvs, hvi, [(21.155,1.195,21.795,7.785)])
opamp3hvs.add(gdstk.Reference(opamp3hv, (0.2,1.4)))
opamp3hvs.add(gdstk.Reference(c_sky130_fd_pr__nfet_g5v0d_, (23.19,4.49)))
opamp3hvs.add(gdstk.Label('VSS', (0.8,0.6), layer=68, texttype=5))
opamp3hvs.add(gdstk.Label('VDD', (1.4,15), layer=68, texttype=5))
opamp3hvs.add(gdstk.Label('VBIAS_SINK', (23.25,6.5), layer=69, texttype=5))
opamp3hvs.add(gdstk.Label('VOUT', (17.9,9.175), layer=69, texttype=5))
opamp3hvs.add(gdstk.Label('IN_P', (0.225,8.3), layer=69, texttype=5))
opamp3hvs.add(gdstk.Label('IN_N', (0.225,7.5), layer=69, texttype=5))

lib.write_gds('opamp3hvs.gds')
